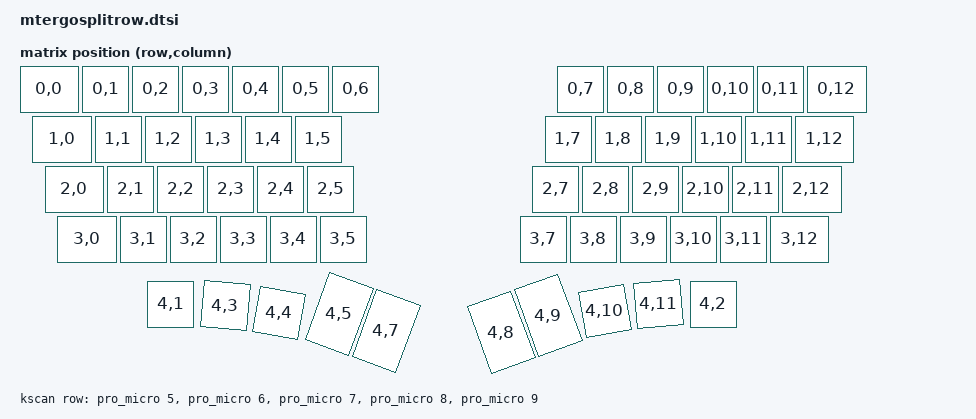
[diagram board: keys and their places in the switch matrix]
#include <physical_layouts.dtsi>
#include <dt-bindings/zmk/matrix_transform.h>

/ {
    chosen {
        zmk,physical-layout = &layout;
    };

    kscan: kscan {
        compatible = "zmk,kscan-gpio-matrix";
        diode-direction = "col2row";

        row-gpios = <&pro_micro 5 (GPIO_ACTIVE_HIGH | GPIO_PULL_DOWN)>,
                    <&pro_micro 6 (GPIO_ACTIVE_HIGH | GPIO_PULL_DOWN)>,
                    <&pro_micro 7 (GPIO_ACTIVE_HIGH | GPIO_PULL_DOWN)>,
                    <&pro_micro 8 (GPIO_ACTIVE_HIGH | GPIO_PULL_DOWN)>,
                    <&pro_micro 9 (GPIO_ACTIVE_HIGH | GPIO_PULL_DOWN)>;
    };

    transform: matrix_transform {
        compatible = "zmk,matrix-transform";
        rows = <5>;
        columns = <13>;

        map = <
                RC(0, 0) RC(0, 1) RC(0, 2) RC(0, 3) RC(0, 4) RC(0, 5) RC(0, 6)          RC(0, 7) RC(0,8) RC(0, 9) RC(0, 10) RC(0, 11) RC(0, 12)
                RC(1, 0) RC(1, 1) RC(1, 2) RC(1, 3) RC(1, 4) RC(1, 5)                   RC(1, 7) RC(1,8) RC(1, 9) RC(1, 10) RC(1, 11) RC(1, 12)
                RC(2, 0) RC(2, 1) RC(2, 2) RC(2, 3) RC(2, 4) RC(2, 5)                   RC(2, 7) RC(2,8) RC(2, 9) RC(2, 10) RC(2, 11) RC(2, 12)
                RC(3, 0) RC(3, 1) RC(3, 2) RC(3, 3) RC(3, 4) RC(3, 5)                   RC(3, 7) RC(3,8) RC(3, 9) RC(3, 10) RC(3, 11) RC(3, 12)
                         RC(4, 1) RC(4, 2) RC(4, 3) RC(4, 4) RC(4, 5)                   RC(4, 7) RC(4,8) RC(4, 9) RC(4, 10) RC(4, 11)
        >;
    };

    / {
    layout_0: layout_0 {
        compatible = "zmk,physical-layout";
        display-name = "Layout 0";

        keys  //                     w   h    x    y     rot    rx    ry
            = <&key_physical_attrs 125 100    0    0       0     0     0>
            , <&key_physical_attrs 100 100  125    0       0     0     0>
            , <&key_physical_attrs 100 100  225    0       0     0     0>
            , <&key_physical_attrs 100 100  325    0       0     0     0>
            , <&key_physical_attrs 100 100  425    0       0     0     0>
            , <&key_physical_attrs 100 100  525    0       0     0     0>
            , <&key_physical_attrs 100 100  625    0       0     0     0>
            , <&key_physical_attrs 100 100 1075    0       0     0     0>
            , <&key_physical_attrs 100 100 1175    0       0     0     0>
            , <&key_physical_attrs 100 100 1275    0       0     0     0>
            , <&key_physical_attrs 100 100 1375    0       0     0     0>
            , <&key_physical_attrs 100 100 1475    0       0     0     0>
            , <&key_physical_attrs 125 100 1575    0       0     0     0>
            , <&key_physical_attrs 125 100   25  100       0     0     0>
            , <&key_physical_attrs 100 100  150  100       0     0     0>
            , <&key_physical_attrs 100 100  250  100       0     0     0>
            , <&key_physical_attrs 100 100  350  100       0     0     0>
            , <&key_physical_attrs 100 100  450  100       0     0     0>
            , <&key_physical_attrs 100 100  550  100       0     0     0>
            , <&key_physical_attrs 100 100 1050  100       0     0     0>
            , <&key_physical_attrs 100 100 1150  100       0     0     0>
            , <&key_physical_attrs 100 100 1250  100       0     0     0>
            , <&key_physical_attrs 100 100 1350  100       0     0     0>
            , <&key_physical_attrs 100 100 1450  100       0     0     0>
            , <&key_physical_attrs 125 100 1550  100       0     0     0>
            , <&key_physical_attrs 125 100   50  200       0     0     0>
            , <&key_physical_attrs 100 100  175  200       0     0     0>
            , <&key_physical_attrs 100 100  275  200       0     0     0>
            , <&key_physical_attrs 100 100  375  200       0     0     0>
            , <&key_physical_attrs 100 100  475  200       0     0     0>
            , <&key_physical_attrs 100 100  575  200       0     0     0>
            , <&key_physical_attrs 100 100 1025  200       0     0     0>
            , <&key_physical_attrs 100 100 1125  200       0     0     0>
            , <&key_physical_attrs 100 100 1225  200       0     0     0>
            , <&key_physical_attrs 100 100 1325  200       0     0     0>
            , <&key_physical_attrs 100 100 1425  200       0     0     0>
            , <&key_physical_attrs 125 100 1525  200       0     0     0>
            , <&key_physical_attrs 125 100   75  300       0     0     0>
            , <&key_physical_attrs 100 100  200  300       0     0     0>
            , <&key_physical_attrs 100 100  300  300       0     0     0>
            , <&key_physical_attrs 100 100  400  300       0     0     0>
            , <&key_physical_attrs 100 100  500  300       0     0     0>
            , <&key_physical_attrs 100 100  600  300       0     0     0>
            , <&key_physical_attrs 100 100 1000  300       0     0     0>
            , <&key_physical_attrs 100 100 1100  300       0     0     0>
            , <&key_physical_attrs 100 100 1200  300       0     0     0>
            , <&key_physical_attrs 100 100 1300  300       0     0     0>
            , <&key_physical_attrs 100 100 1400  300       0     0     0>
            , <&key_physical_attrs 125 100 1500  300       0     0     0>
            , <&key_physical_attrs 100 100  255  430       0     0     0>
            , <&key_physical_attrs 100 100 1340  430       0     0     0>
            , <&key_physical_attrs 100 100  405  395     500     0     0>
            , <&key_physical_attrs 100 100  550  350    1000     0     0>
            , <&key_physical_attrs 100 150  725  175    2000     0     0>
            , <&key_physical_attrs 100 150  825  175    2000     0     0>
            , <&key_physical_attrs 100 150  675  760 (-2000)     0     0>
            , <&key_physical_attrs 100 150  775  760 (-2000)     0     0>
            , <&key_physical_attrs 100 100 1020  640 (-1000)     0     0>
            , <&key_physical_attrs 100 100 1185  540  (-500)     0     0>
            ;
    };

    position_map {
        compatible = "zmk,physical-layout-position-map";

        layout_0 {
            physical-layout = <&layout_0>;
            positions = <>;
        };
    };
};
